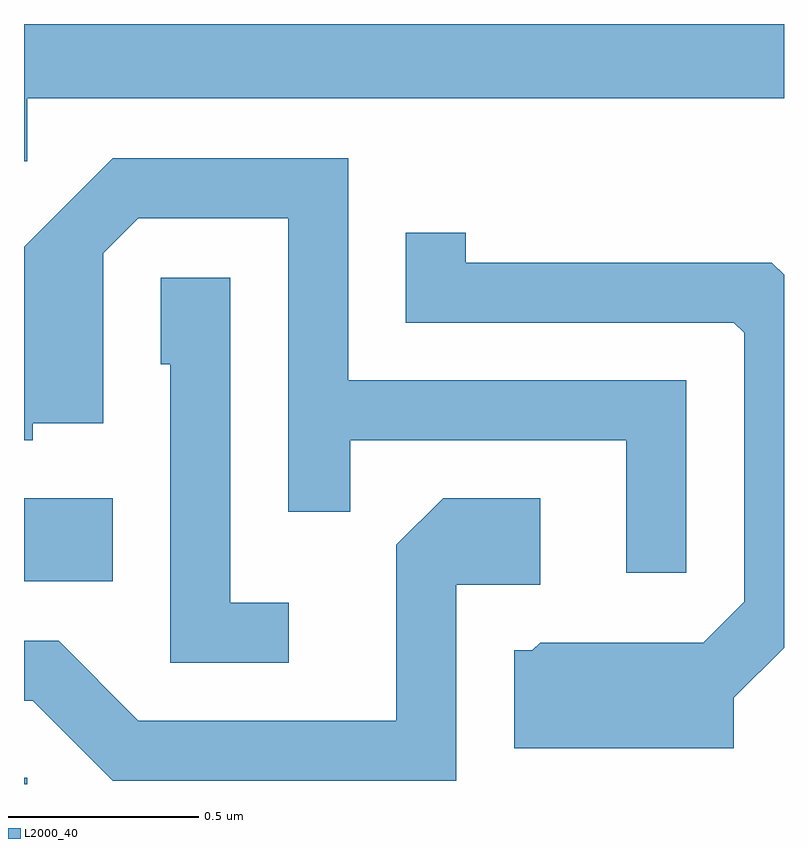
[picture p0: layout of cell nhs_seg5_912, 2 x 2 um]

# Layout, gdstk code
import gdstk
lib = gdstk.Library(unit=1e-6, precision=1e-09)
def R(c, l, rs):  # rectangles x0, y0, x1, y1
    for r in rs: c.add(gdstk.rectangle(r[:2], r[2:], *l))
def P(c, l, *ps):  # polygons
    for p in ps: c.add(gdstk.Polygon(p, *l))
L2000_40 = (2000, 40)

nhs_seg5_912 = lib.new_cell('nhs_seg5_912')
R(nhs_seg5_912, L2000_40, [(191.611,1486.072,191.619,1486.089), (191.611,1486.606,191.844,1486.824)])
P(nhs_seg5_912, L2000_40, [(191.619,1487.876),(193.611,1487.876),(193.611,1488.072),(191.611,1488.072),(191.611,1487.711),(191.619,1487.711)],
  [(193.354,1487.134),(192.464,1487.134),(192.464,1487.719),(191.844,1487.719),(191.611,1487.486),(191.611,1486.976),(191.634,1486.976),(191.634,1487.021),(191.819,1487.021),(191.819,1487.469),(191.912,1487.561),(192.306,1487.561),(192.306,1486.788),(192.469,1486.788),(192.469,1486.976),(193.196,1486.976),(193.196,1486.628),(193.354,1486.628)],
  [(193.479,1486.299),(193.611,1486.431),(193.611,1487.412),(193.579,1487.444),(192.774,1487.444),(192.774,1487.523),(192.616,1487.523),(192.616,1487.286),(193.479,1487.286),(193.506,1487.259),(193.506,1486.552),(193.399,1486.444),(192.969,1486.444),(192.949,1486.424),(192.901,1486.424),(192.901,1486.166),(193.479,1486.166)],
  [(192.308,1486.549),(192.154,1486.549),(192.154,1487.404),(191.971,1487.404),(191.971,1487.176),(191.996,1487.176),(191.996,1486.391),(192.308,1486.391)],
  [(192.749,1486.596),(192.969,1486.596),(192.969,1486.824),(192.714,1486.824),(192.591,1486.702),(192.591,1486.239),(191.912,1486.239),(191.702,1486.449),(191.611,1486.449),(191.611,1486.291),(191.634,1486.291),(191.844,1486.081),(192.749,1486.081)])

lib.write_gds('nhs_seg5_912.gds')
